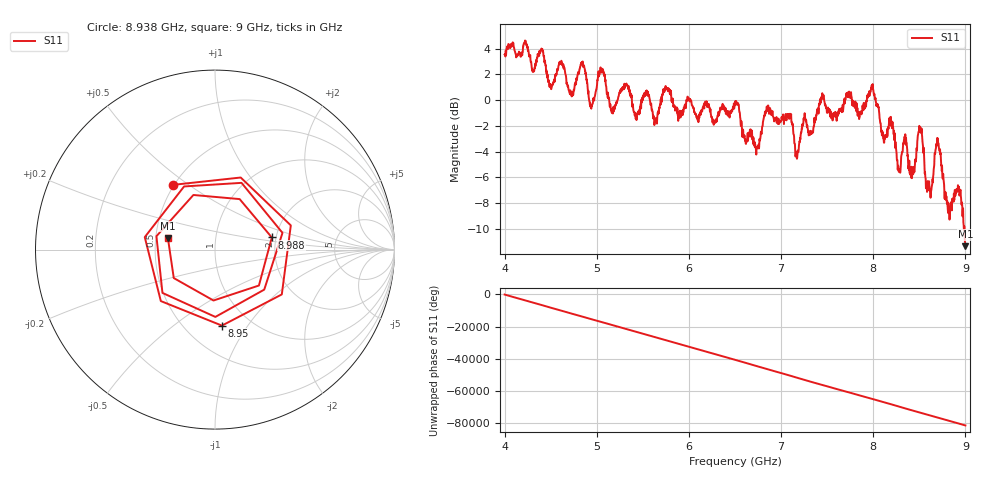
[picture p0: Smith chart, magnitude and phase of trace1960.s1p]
! Created with skrf 1.8.0 (http://scikit-rf.org).
# Hz S RI R 50.0
!freq ReS11 ImS11
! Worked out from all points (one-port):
!   1601 points, 4 GHz to 9 GHz, reference 50 ohm
!   lowest |S11| = -11.4 dB at 9 GHz (marker M1), VSWR 1.74, Z = 29 + j4.08 ohm
!   |S11| at or under -10 dB: 8.983325 GHz to 8.985188 GHz (1.863 MHz wide, 0.0207 % of centre); 8.990949 GHz to end of sweep
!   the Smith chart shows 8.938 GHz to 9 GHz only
!   S11 on the Smith chart (normalised r, x): 8.938 GHz: 0.49, +0.44; 8.95 GHz: 0.74, -0.77; 8.988 GHz: 1.90, +0.29; 9 GHz: 0.58, +0.08
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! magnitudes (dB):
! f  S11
! 4 GHz  3.5
! 4.625 GHz  2.7
! 4.722 GHz  0.6
! 4.85 GHz  2.9
! 4.941 GHz  -0.7
! 5.044 GHz  2.2
! 5.162 GHz  -1.0
! 5.25 GHz  0.6
! 5.875 GHz  -0.7
! 6.5 GHz  -0.3
! 6.734 GHz  -3.8
! 6.859 GHz  -0.4
! 7.125 GHz  -1.8
! 7.178 GHz  -4.2
! 7.441 GHz  0.1
! 7.75 GHz  0.2
! 7.991 GHz  0.9
! 8.275 GHz  -5.5
! 8.375 GHz  -4.3
! 8.434 GHz  -5.7
! 8.509 GHz  -2.2
! 8.597 GHz  -6.8
! 8.7 GHz  -3.0
! 8.812 GHz  -8.8
! 8.938 GHz  -7.3
! 8.95 GHz  -7.4
! 8.988 GHz  -9.8
! 9 GHz  -11.4
